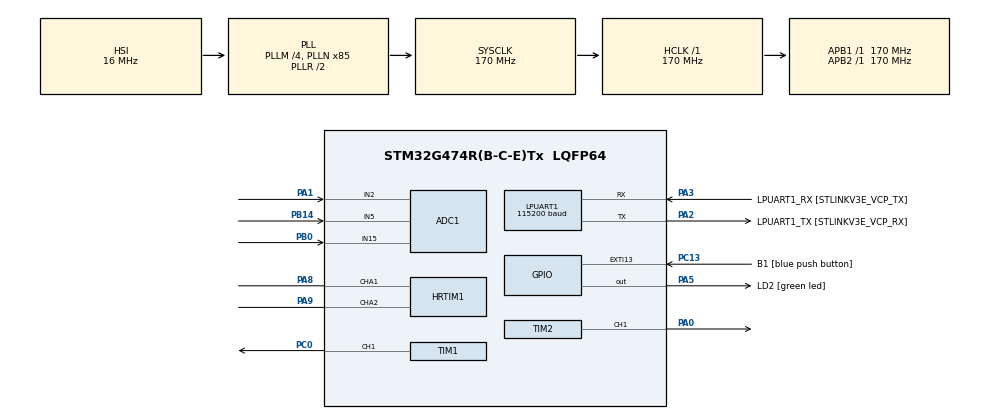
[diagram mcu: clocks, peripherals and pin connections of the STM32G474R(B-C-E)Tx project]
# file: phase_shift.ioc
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ADC1.Channel-0\#ChannelRegularConversion=ADC_CHANNEL_2
ADC1.Channel-1\#ChannelRegularConversion=ADC_CHANNEL_15
ADC1.ContinuousConvMode=ENABLE
ADC1.DMAContinuousRequests=ENABLE
ADC1.NbrOfConversion=2
ADC1.NbrOfConversionFlag=1
ADC1.OffsetNumber-0\#ChannelRegularConversion=ADC_OFFSET_NONE
ADC1.OffsetNumber-1\#ChannelRegularConversion=ADC_OFFSET_NONE
ADC1.Rank-0\#ChannelRegularConversion=1
ADC1.Rank-1\#ChannelRegularConversion=2
ADC1.SamplingTime-0\#ChannelRegularConversion=ADC_SAMPLETIME_47CYCLES_5
ADC1.SamplingTime-1\#ChannelRegularConversion=ADC_SAMPLETIME_47CYCLES_5
ADC1.master=1
Dma.ADC1.0.Direction=DMA_PERIPH_TO_MEMORY
Dma.ADC1.0.EventEnable=DISABLE
Dma.ADC1.0.Instance=DMA1_Channel1
Dma.ADC1.0.MemDataAlignment=DMA_MDATAALIGN_HALFWORD
Dma.ADC1.0.MemInc=DMA_MINC_ENABLE
Dma.ADC1.0.Mode=DMA_CIRCULAR
Dma.ADC1.0.PeriphDataAlignment=DMA_PDATAALIGN_HALFWORD
Dma.ADC1.0.PeriphInc=DMA_PINC_DISABLE
Dma.ADC1.0.Polarity=HAL_DMAMUX_REQ_GEN_RISING
Dma.ADC1.0.Priority=DMA_PRIORITY_LOW
Dma.ADC1.0.RequestNumber=1
Dma.ADC1.0.SignalID=NONE
Dma.ADC1.0.SyncEnable=DISABLE
Dma.ADC1.0.SyncPolarity=HAL_DMAMUX_SYNC_NO_EVENT
Dma.ADC1.0.SyncRequestNumber=1
Dma.ADC1.0.SyncSignalID=NONE
Dma.Request0=ADC1
HRTIM1.CompareUnit1-Output_TA1TA2=__NULL
HRTIM1.Periode_TA=34000
HRTIM1.PrescalerRatio_TA=HRTIM_PRESCALERRATIO_MUL4
LPUART1.BaudRate=115200
LPUART1.WordLength=UART_WORDLENGTH_8B
Mcu.Family=STM32G4
Mcu.Name=STM32G474R(B-C-E)Tx
Mcu.Package=LQFP64
NVIC.DMA1_Channel1_IRQn=true\:0\:0\:false\:false\:true\:false\:true\:true
NVIC.EXTI15_10_IRQn=true\:0\:0\:false\:false\:true\:true\:true\:true
NVIC.LPUART1_IRQn=true\:0\:0\:false\:false\:true\:true\:true\:true
NVIC.PriorityGroup=NVIC_PRIORITYGROUP_4
NVIC.TIM3_IRQn=true\:0\:0\:false\:false\:true\:true\:true\:true
PA0.Signal=S_TIM2_CH1
PA1.Mode=IN2-Single-Ended
PA1.Signal=ADC1_IN2
PA13.GPIO_Label=T_SWDIO
PA13.Mode=Serial_Wire
PA13.Signal=SYS_JTMS-SWDIO
PA14.GPIO_Label=T_SWCLK
PA14.Mode=Serial_Wire
PA14.Signal=SYS_JTCK-SWCLK
PA2.GPIO_Label=LPUART1_TX [STLINKV3E_VCP_RX]
PA2.Mode=Asynchronous
PA2.Signal=LPUART1_TX
PA3.GPIO_Label=LPUART1_RX [STLINKV3E_VCP_TX]
PA3.Mode=Asynchronous
PA3.Signal=LPUART1_RX
PA5.GPIO_Label=LD2 [green led]
PA5.Signal=GPIO_Output
PA8.GPIO_PuPd=GPIO_PULLDOWN
PA8.Mode=Output_TA1TA2
PA8.Signal=HRTIM1_CHA1
PA9.GPIO_PuPd=GPIO_PULLDOWN
PA9.Mode=Output_TA1TA2
PA9.Signal=HRTIM1_CHA2
PB0.Mode=IN15-Single-Ended
PB0.Signal=ADC1_IN15
PB14.Mode=IN5-Single-Ended
PB14.Signal=ADC1_IN5
PB3.GPIO_Label=T_SWO
PB3.Signal=SYS_JTDO-SWO
PC0.Signal=S_TIM1_CH1
PC13.GPIO_Label=B1 [blue push button]
PC13.Signal=GPXTI13
PC14-OSC32_IN.Mode=LSE-External-Oscillator
PC14-OSC32_IN.Signal=RCC_OSC32_IN
PC15-OSC32_OUT.Mode=LSE-External-Oscillator
PC15-OSC32_OUT.Signal=RCC_OSC32_OUT
PF0-OSC_IN.Mode=HSE-External-Oscillator
PF0-OSC_IN.Signal=RCC_OSC_IN
PF1-OSC_OUT.Mode=HSE-External-Oscillator
PF1-OSC_OUT.Signal=RCC_OSC_OUT
ProjectManager.HeapSize=0x200
ProjectManager.StackSize=0x400
ProjectManager.TargetToolchain=MDK-ARM V5.32
RCC.ADC12Freq_Value=170000000
RCC.ADC345Freq_Value=170000000
RCC.AHBFreq_Value=170000000
RCC.APB1Freq_Value=170000000
RCC.APB1TimFreq_Value=170000000
RCC.APB2Freq_Value=170000000
RCC.APB2TimFreq_Value=170000000
RCC.CortexFreq_Value=170000000
RCC.EXTERNAL_CLOCK_VALUE=12288000
RCC.HCLKFreq_Value=170000000
RCC.HSE_VALUE=24000000
RCC.HSI48_VALUE=48000000
RCC.HSI_VALUE=16000000
RCC.PLLM=RCC_PLLM_DIV4
RCC.PLLN=85
RCC.RTCClockSelection=RCC_RTCCLKSOURCE_LSE
RCC.SYSCLKFreq_VALUE=170000000
RCC.SYSCLKSource=RCC_SYSCLKSOURCE_PLLCLK
RCC.USBFreq_Value=170000000
RCC.VCOOutputFreq_Value=340000000
SH.S_TIM1_CH1.0=TIM1_CH1,PWM Generation1 CH1
SH.S_TIM2_CH1.0=TIM2_CH1,PWM Generation1 CH1
TIM1.Channel-PWM\ Generation1\ CH1=TIM_CHANNEL_1
TIM1.PeriodNoDither=1000
TIM1.Prescaler=169
TIM1.TIM_MasterOutputTrigger=TIM_TRGO_OC2REF
TIM1.TIM_MasterSlaveMode=TIM_MASTERSLAVEMODE_ENABLE
TIM2.Channel-PWM\ Generation1\ CH1=TIM_CHANNEL_1
TIM2.PeriodNoDither=1000
TIM2.Prescaler=169
TIM2.PulseNoDither_1=500
TIM2.TIM_MasterOutputTrigger=TIM_TRGO_OC2REF
TIM2.TIM_MasterSlaveMode=TIM_MASTERSLAVEMODE_ENABLE
TIM3.PeriodNoDither=100
TIM3.Prescaler=1699
VP_SYS_VS_DBSignals.Mode=DisableDeadBatterySignals
VP_TIM1_VS_ClockSourceINT.Mode=Internal
VP_TIM2_VS_ClockSourceINT.Mode=Internal
VP_TIM2_VS_ClockSourceITR.Mode=TriggerSource_ITR0
VP_TIM2_VS_ControllerModeTrigger.Mode=Trigger Mode
VP_TIM3_VS_ClockSourceINT.Mode=Internal
VP_TIM3_VS_OPM.Mode=OPM_bit
board=NUCLEO-G474RE

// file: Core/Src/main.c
/* USER CODE BEGIN Header */
/**
 ******************************************************************************
 * @file           : main.c
 * @brief          : Main program body
 ******************************************************************************
 * @attention
 *
 * Copyright (c) 2023 STMicroelectronics.
 * All rights reserved.
 *
 * This software is licensed under terms that can be found in the LICENSE file
 * in the root directory of this software component.
 * If no LICENSE file comes with this software, it is provided AS-IS.
 *
 ******************************************************************************
 */
/* USER CODE END Header */
#include "main.h"
#include "adc.h"
#include "dma.h"
#include "hrtim.h"
#include "usart.h"
#include "tim.h"
#include "gpio.h"

/* USER CODE BEGIN Includes */
#include "stdio.h"
#include "string.h"
/* USER CODE END Includes */

/* USER CODE BEGIN PD */
#define BASE 5440000000 / (120000 * 4)
#define OVER 5440000000 / (105000 * 4)
/* USER CODE END PD */

/* USER CODE BEGIN PV */
uint16_t PERIOD = 0x308C;

float adc_freq_prev = 0;
float adc_phase_prev = 0;

static uint16_t dutyCycle  = 50;
static uint16_t test_value = 0;

typedef enum STATE {
    STATE_STOP,
    STATE_START,
} STATES;

struct ADC_t {
    uint16_t value;
    uint16_t low_threshold;
    uint16_t high_threshold;
    uint16_t degrees_conv;
};

struct ADC_t adc = {
    .value = 0, .low_threshold = 100, .high_threshold = 3900, .degrees_conv = 22};

volatile uint16_t adc_val[2] = {
    0,
};

uint16_t conversion = 22;

uint16_t freq_adc_prev = 0;
float alpha            = 0.05;
uint16_t phase         = 0;
uint16_t phase_prev    = 0;

uint16_t freq      = 0;
uint16_t freq_prev = 0;

uint32_t highFreq = 200000;
uint16_t lowFreq  = 20000;

uint16_t flag     = 0;
uint8_t freq_flag = 0;

enum STATE state = STATE_START;

char word_to_send[20] = {
    0,
};

uint64_t hrtim_freq = 5440000000;

uint32_t base_freq = 93000;
uint32_t over_freq = 110000;
/* USER CODE END PV */

void SystemClock_Config(void);
/* USER CODE BEGIN PFP */
int dec2bin(int num);
/* USER CODE END PFP */

int main(void)
{

    /* MCU Configuration--------------------------------------------------------*/

    /* Reset of all peripherals, Initializes the Flash interface and the Systick. */
    HAL_Init();

    /* Configure the system clock */
    SystemClock_Config();

    /* Initialize all configured peripherals */
    MX_GPIO_Init();
    MX_DMA_Init();
    MX_LPUART1_UART_Init();
    MX_TIM1_Init();
    MX_ADC1_Init();
    MX_TIM2_Init();
    MX_HRTIM1_Init();
    MX_TIM3_Init();
    /* USER CODE BEGIN 2 */
    HAL_ADCEx_Calibration_Start(&hadc1, ADC_SINGLE_ENDED);
    HAL_ADC_Start_DMA(&hadc1, (uint32_t *)adc_val, 2);
    /* TIMA counter operating in continuous mode with prescaler = 010b (div.
 by 4) */
    /* Preload enabled on REP event*/
    PERIOD = BASE; // BASE;//0x3B5E;//(uint16_t)(hrtim_freq / base_freq);

    HRTIM1->sTimerxRegs[HRTIM_TIMERINDEX_TIMER_A].TIMxCR = HRTIM_TIMCR_CONT + HRTIM_TIMCR_PREEN + HRTIM_TIMCR_TREPU + HRTIM_TIMCR_CK_PSC_2;
    /* Set period to 33kHz and duty cycles to 25% */
    HRTIM1->sTimerxRegs[HRTIM_TIMERINDEX_TIMER_A].PERxR  = PERIOD; //;
    HRTIM1->sTimerxRegs[HRTIM_TIMERINDEX_TIMER_A].CMP1xR = PERIOD / 2;
    HRTIM1->sTimerxRegs[HRTIM_TIMERINDEX_TIMER_A].CMP2xR = PERIOD / 8;
    HRTIM1->sTimerxRegs[HRTIM_TIMERINDEX_TIMER_A].CMP3xR =
        PERIOD / 2 + PERIOD / 8;
    /* TA1 output set on TIMA period and reset on TIMA CMP1 event*/
    HRTIM1->sTimerxRegs[HRTIM_TIMERINDEX_TIMER_A].SETx1R = HRTIM_SET1R_PER;
    HRTIM1->sTimerxRegs[HRTIM_TIMERINDEX_TIMER_A].RSTx1R = HRTIM_RST1R_CMP1;

    /* TA2 output set on TIMA CMP2 and reset on TIMA period event*/
    HRTIM1->sTimerxRegs[HRTIM_TIMERINDEX_TIMER_A].SETx2R = HRTIM_SET2R_CMP2;
    HRTIM1->sTimerxRegs[HRTIM_TIMERINDEX_TIMER_A].RSTx2R = HRTIM_RST2R_CMP3;

    /* Enable TA1, TA2, TD1 and TD2 outputs */
    HRTIM1->sCommonRegs.OENR = HRTIM_OENR_TA1OEN + HRTIM_OENR_TA2OEN;
    /* Start Timer A and Timer D */

    HAL_UART_Receive_IT(&hlpuart1, (uint8_t *)&freq_flag, 1);
    HAL_UART_Transmit(&hlpuart1, (uint8_t *)"Start\n", 8, 1000);

    sprintf(word_to_send, "DECIMAL: %d\n", 10);
    HAL_UART_Transmit(&hlpuart1, (uint8_t *)word_to_send, strlen(word_to_send), 1000);

    sprintf(word_to_send, "binary: %d\n", dec2bin(10));
    HAL_UART_Transmit(&hlpuart1, (uint8_t *)word_to_send, strlen(word_to_send), 1000);

    /* USER CODE END 2 */

    /* Infinite loop */
    while (1) {

        /* USER CODE BEGIN 3 */
        if (state == STATE_START) {
            /* set new tim CCRx registers based on ADC value */
            phase = adc_val[0];
            freq  = adc_val[1];

            if (phase > adc.high_threshold) {
                phase = adc.high_threshold;
            } else if (phase < adc.low_threshold) {
                phase = adc.low_threshold;
            }

            freq = (adc_freq_prev * alpha) + freq * (1 - alpha);
            phase = (adc_phase_prev * alpha) + phase * (1 - alpha);

            adc_freq_prev = freq;
            adc_phase_prev = phase;

            PERIOD = freq * 4;

            if (PERIOD > 17000) // 20_000kHz
            {
                PERIOD = 17000;
            } else if (PERIOD < 3400) { // 100_000 kHz
                PERIOD = 3400;
            }
            HRTIM1->sTimerxRegs[HRTIM_TIMERINDEX_TIMER_A].PERxR  = PERIOD; //;
            HRTIM1->sTimerxRegs[HRTIM_TIMERINDEX_TIMER_A].CMP1xR = PERIOD / 2;
            HRTIM1->sTimerxRegs[HRTIM_TIMERINDEX_TIMER_A].CMP2xR =
                (PERIOD / 360 * (phase / conversion));
            HAL_Delay(100);
        }
        HRTIM1->sTimerxRegs[HRTIM_TIMERINDEX_TIMER_A].CMP3xR =
            (PERIOD / 2 + PERIOD / 360 * (phase / conversion));

        if (flag == 1) {
            /* push button pressed*/
            flag  = 0;
            state = !state; // toggle state
            if (state == STATE_STOP) {
                /* set HRTIM CCRx to 0 */
                HRTIM1->sTimerxRegs[HRTIM_TIMERINDEX_TIMER_A].CMP1xR = 0;
                HRTIM1->sTimerxRegs[HRTIM_TIMERINDEX_TIMER_A].CMP2xR = 0;
                HRTIM1->sTimerxRegs[HRTIM_TIMERINDEX_TIMER_A].CMP3xR = 0;
                // HAL_ADC_Stop(&hadc1);
                HAL_ADC_Stop_DMA(&hadc1);
                CLEAR_BIT(GPIOA->ODR, GPIO_PIN_5);
            } else if (state == STATE_START) {
                HAL_ADC_Start_DMA(&hadc1, (uint32_t *)adc_val, 2);
                /* set HRTIM CCRx to half period to reinit phase shift*/
                HRTIM1->sTimerxRegs[HRTIM_TIMERINDEX_TIMER_A].CMP1xR = PERIOD / 2;
                HRTIM1->sTimerxRegs[HRTIM_TIMERINDEX_TIMER_A].CMP2xR = 0;
                HRTIM1->sTimerxRegs[HRTIM_TIMERINDEX_TIMER_A].CMP3xR = 0;
                SET_BIT(GPIOA->ODR, GPIO_PIN_5);
                HRTIM1->sMasterRegs.MCR = HRTIM_MCR_TACEN;
            }
        }
    }
    /* USER CODE END 3 */
}

void SystemClock_Config(void)
{
    RCC_OscInitTypeDef RCC_OscInitStruct = {0};
    RCC_ClkInitTypeDef RCC_ClkInitStruct = {0};

    /** Configure the main internal regulator output voltage
     */
    HAL_PWREx_ControlVoltageScaling(PWR_REGULATOR_VOLTAGE_SCALE1_BOOST);

    /** Initializes the RCC Oscillators according to the specified parameters
     * in the RCC_OscInitTypeDef structure.
     */
    RCC_OscInitStruct.OscillatorType      = RCC_OSCILLATORTYPE_HSI;
    RCC_OscInitStruct.HSIState            = RCC_HSI_ON;
    RCC_OscInitStruct.HSICalibrationValue = RCC_HSICALIBRATION_DEFAULT;
    RCC_OscInitStruct.PLL.PLLState        = RCC_PLL_ON;
    RCC_OscInitStruct.PLL.PLLSource       = RCC_PLLSOURCE_HSI;
    RCC_OscInitStruct.PLL.PLLM            = RCC_PLLM_DIV4;
    RCC_OscInitStruct.PLL.PLLN            = 85;
    RCC_OscInitStruct.PLL.PLLP            = RCC_PLLP_DIV2;
    RCC_OscInitStruct.PLL.PLLQ            = RCC_PLLQ_DIV2;
    RCC_OscInitStruct.PLL.PLLR            = RCC_PLLR_DIV2;
    if (HAL_RCC_OscConfig(&RCC_OscInitStruct) != HAL_OK) {
        Error_Handler();
    }

    /** Initializes the CPU, AHB and APB buses clocks
     */
    RCC_ClkInitStruct.ClockType      = RCC_CLOCKTYPE_HCLK | RCC_CLOCKTYPE_SYSCLK | RCC_CLOCKTYPE_PCLK1 | RCC_CLOCKTYPE_PCLK2;
    RCC_ClkInitStruct.SYSCLKSource   = RCC_SYSCLKSOURCE_PLLCLK;
    RCC_ClkInitStruct.AHBCLKDivider  = RCC_SYSCLK_DIV1;
    RCC_ClkInitStruct.APB1CLKDivider = RCC_HCLK_DIV1;
    RCC_ClkInitStruct.APB2CLKDivider = RCC_HCLK_DIV1;

    if (HAL_RCC_ClockConfig(&RCC_ClkInitStruct, FLASH_LATENCY_4) != HAL_OK) {
        Error_Handler();
    }
}

/* USER CODE BEGIN 4 */
// add push button callback
void HAL_GPIO_EXTI_Callback(uint16_t GPIO_Pin)
{
    if (GPIO_Pin == GPIO_PIN_13) {
        flag = 1;
    }
}

void HAL_TIM_PeriodElapsedCallback(TIM_HandleTypeDef *htim)
{
    if (htim->Instance == TIM1) {
        // send next bit
        word_to_send[0] % 2 == 0 ? SET_BIT(word_to_send[0], 0) : CLEAR_BIT(word_to_send[0], 0);
    }
}

void HAL_UART_RxCpltCallback(UART_HandleTypeDef *huart)
{
    if (huart->Instance == LPUART1) {
        if (freq_flag == 79) // O is for over (frequency is equal to 110kHz)
        {
            freq_flag                                           = 0;
            PERIOD                                              = 10900;
            HRTIM1->sTimerxRegs[HRTIM_TIMERINDEX_TIMER_A].PERxR = PERIOD; //;
            HAL_UART_Transmit(&hlpuart1, (uint8_t *)"Overdrive\n", 10, 100);
        }

        else if (freq_flag == 66) // B is for base (frequency is equal to 85kHz)
        {
            freq_flag                                           = 0;
            PERIOD                                              = 15500;
            HRTIM1->sTimerxRegs[HRTIM_TIMERINDEX_TIMER_A].PERxR = PERIOD; //;
            HAL_UART_Transmit(&hlpuart1, (uint8_t *)"Base\n", 4, 100);
        }
    }
    HAL_UART_Receive_IT(&hlpuart1, (uint8_t *)&freq_flag, 1);
}

int dec2bin(int num)
{
    int bin = 0, k = 1;

    while (num) {
        bin += (num % 2) * k;
        k *= 10;
        num /= 2;
    }

    return bin;
}
/* USER CODE END 4 */

void Error_Handler(void)
{
    __disable_irq();
    while (1) {
    }
}
